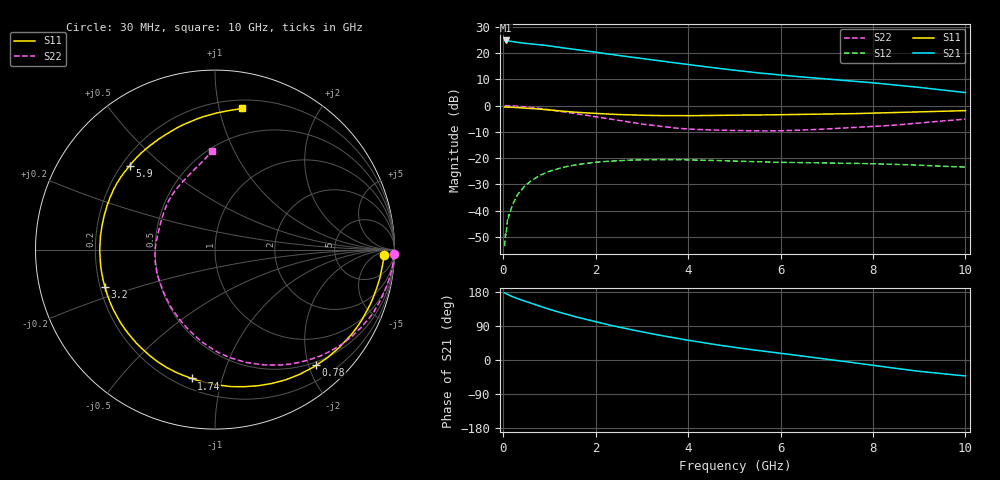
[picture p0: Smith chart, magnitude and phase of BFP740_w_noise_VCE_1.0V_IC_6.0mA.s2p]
! Infineon Technologies  Discrete & RF Semiconductors
! BFP740
! VCE =  1.0 V,  IC =  6.0 mA
! Common Emitter S-Parameters:  Jan 2016
# GHz  S  MA  R  50
!  f  S11  S21  S12  S22
! GHz  MAG  ANG  MAG  ANG  MAG  ANG  MAG  ANG
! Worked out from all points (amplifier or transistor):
!   229 points, 30 MHz to 10 GHz, reference 50 ohm
!   highest |S21| = 24.8 dB at 50 MHz (marker M1)
!   |S21| within 3 dB of that: start of sweep to 1.374 GHz
!   unconditionally stable (mu >= 1): 7.597 GHz to end of sweep
!   at 280 MHz: K = 0.09, MSG = 29.5 dB, |S12| = -34.9 dB
!   at 1.78 GHz: K = 0.26, MSG = 21.5 dB, |S12| = -22.1 dB
!   at 10 GHz: K = 1.22, MAG = 11.4 dB, |S12| = -23.4 dB
!   lowest NFmin = 0.45 dB at 450 MHz
!   S11 on the Smith chart (normalised r, x): 30 MHz: 25, -14; 780 MHz: 0.44, -2.13; 1.74 GHz: 0.26, -0.80; 3.2 GHz: 0.22, -0.16; 5.9 GHz: 0.23, +0.39; 10 GHz: 0.27, +1.17
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0.03  0.9401 -2.0  17.27 177.4  0.0021 96.2  0.9966 -1.5
0.05  0.9402 -3.5  17.37 176.2  0.0036 71.8  0.997 -2.6
0.13  0.9333 -8.7  16.91 170.9  0.0082 86.4  0.9914 -6.6
0.34  0.9125 -22.0  15.84 160.8  0.0216 76.2  0.9658 -16.4
0.6  0.882 -37.9  14.96 149.8  0.0367 66.6  0.9226 -28.0
0.78  0.8564 -48.8  14.4 142.4  0.046 59.9  0.8855 -35.8
0.9  0.8395 -56.0  14.06 137.6  0.0514 55.8  0.8582 -41.0
1.1  0.8098 -67.2  13.3 130.0  0.0598 49.2  0.8094 -49.2
1.4  0.769 -83.1  12.22 119.5  0.0697 40.5  0.7398 -60.4
1.7  0.7339 -98.4  11.28 109.8  0.0773 32.8  0.6722 -70.8
1.74  0.7296 -100.3  11.15 108.6  0.0781 31.9  0.6642 -72.2
2.08  0.7029 -116.1  10.13 98.4  0.0845 24.0  0.596 -84.0
2.32  0.6848 -126.8  9.477 91.6  0.0875 19.0  0.5524 -91.8
2.78  0.6615 -145.2  8.342 79.8  0.0914 10.7  0.4766 -106.6
3.2  0.6476 -161.1  7.472 69.6  0.0929 4.0  0.422 -121.0
3.4  0.6444 -168.2  7.086 65.0  0.0932 0.9  0.4011 -128.2
4.1  0.6421 170.3  5.893 50.1  0.092 -8.4  0.3542 -152.4
5.1  0.6576 147.8  4.603 31.8  0.0872 -18.1  0.3333 179.5
5.9  0.6672 135.5  3.883 19.2  0.083 -23.0  0.3302 161.9
6.8  0.6824 122.9  3.313 5.3  0.0811 -28.2  0.351 144.3
8.4  0.7347 97.9  2.51 -20.5  0.0763 -37.9  0.4204 114.9
10  0.8006 79.1  1.768 -42.0  0.0673 -43.2  0.5502 91.8
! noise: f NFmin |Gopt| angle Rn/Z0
0.45  0.45  0.36  10  0.21
0.9  0.46  0.37  17  0.2
1.5  0.49  0.35  25  0.19
1.9  0.52  0.34  42  0.19
2.4  0.55  0.34  46  0.18
3.5  0.65  0.31  66  0.17
5.5  0.86  0.22  171  0.15
10  1.45  0.54  -80  0.2
